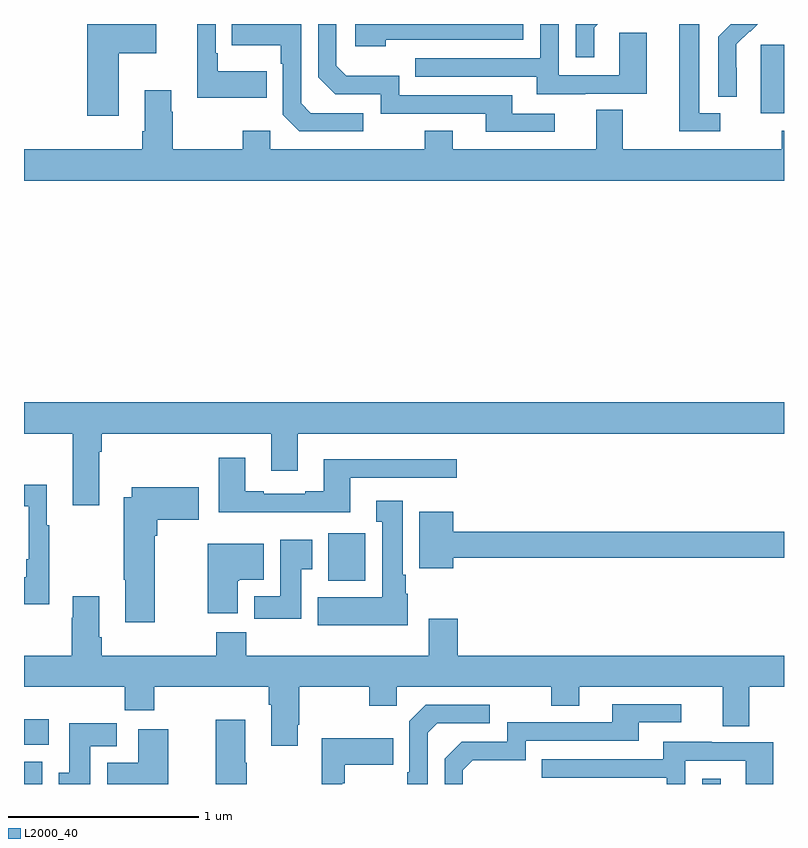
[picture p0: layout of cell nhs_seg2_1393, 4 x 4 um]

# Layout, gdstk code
import gdstk
lib = gdstk.Library(unit=1e-6, precision=1e-09)
def R(c, l, rs):  # rectangles x0, y0, x1, y1
    for r in rs: c.add(gdstk.rectangle(r[:2], r[2:], *l))
def P(c, l, *ps):  # polygons
    for p in ps: c.add(gdstk.Polygon(p, *l))
L2000_40 = (2000, 40)

nhs_seg2_1393 = lib.new_cell('nhs_seg2_1393')
R(nhs_seg2_1393, L2000_40, [(183,637.8,183.097,637.918), (186.57,637.8,186.667,637.828), (183,638.006,183.13,638.14), (184.601,638.87,184.797,639.121), (186.878,641.33,187,641.691)])
P(nhs_seg2_1393, L2000_40, [(186.664,641.331),(186.553,641.331),(186.553,641.8),(186.449,641.8),(186.449,641.235),(186.664,641.235)],
  [(184.904,641.718),(185.628,641.718),(185.628,641.8),(184.743,641.8),(184.743,641.684),(184.904,641.684)],
  [(183.499,641.645),(183.697,641.645),(183.697,641.8),(183.332,641.8),(183.332,641.316),(183.499,641.316)],
  [(184.277,641.551),(184.021,641.551),(184.021,641.647),(184.008,641.647),(184.008,641.8),(183.911,641.8),(183.911,641.411),(184.277,641.411)],
  [(185.794,641.328),(185.569,641.328),(185.569,641.424),(184.974,641.424),(184.974,641.527),(184.697,641.527),(184.644,641.58),(184.644,641.8),(184.548,641.8),(184.548,641.52),(184.638,641.43),(184.878,641.43),(184.878,641.328),(185.429,641.328),(185.429,641.232),(185.794,641.232)],
  [(186.75,641.57),(186.749,641.57),(186.749,641.693),(186.819,641.763),(186.822,641.76),(186.862,641.8),(186.72,641.8),(186.654,641.734),(186.654,641.416),(186.75,641.416)],
  [(184.786,641.331),(184.509,641.331),(184.458,641.382),(184.458,641.8),(184.093,641.8),(184.093,641.687),(184.35,641.687),(184.35,641.591),(184.362,641.591),(184.362,641.322),(184.449,641.235),(184.786,641.235)],
  [(186.001,641.781),(186.02,641.8),(185.904,641.8),(185.904,641.625),(186.001,641.625)],
  [(185.953,641.433),(186.277,641.433),(186.277,641.753),(186.132,641.753),(186.132,641.529),(185.814,641.529),(185.814,641.8),(185.718,641.8),(185.718,641.619),(185.059,641.619),(185.059,641.523),(185.699,641.523),(185.699,641.429),(185.953,641.429)],
  [(187,641.239),(186.988,641.239),(186.988,641.14),(186.151,641.14),(186.151,641.348),(186.011,641.348),(186.011,641.14),(185.257,641.14),(185.257,641.239),(185.11,641.239),(185.11,641.14),(184.296,641.14),(184.296,641.239),(184.15,641.239),(184.15,641.14),(183.783,641.14),(183.783,641.339),(183.775,641.339),(183.775,641.452),(183.635,641.452),(183.635,641.236),(183.623,641.236),(183.623,641.14),(183,641.14),(183,640.976),(187,640.976)],
  [(183.397,639.548),(183.41,639.548),(183.41,639.644),(184.301,639.644),(184.301,639.45),(184.441,639.45),(184.441,639.644),(187,639.644),(187,639.808),(183,639.808),(183,639.644),(183.257,639.644),(183.257,639.267),(183.397,639.267)],
  [(184.717,639.411),(185.278,639.411),(185.278,639.508),(184.577,639.508),(184.577,639.34),(184.481,639.34),(184.481,639.327),(184.261,639.327),(184.261,639.34),(184.165,639.34),(184.165,639.517),(184.025,639.517),(184.025,639.23),(184.717,639.23)],
  [(183.133,639.163),(183.121,639.163),(183.121,639.376),(183,639.376),(183,639.263),(183.024,639.263),(183.024,638.983),(183.012,638.983),(183.012,638.887),(183,638.887),(183,638.747),(183.133,638.747)],
  [(183.688,639.107),(183.701,639.107),(183.701,639.191),(183.919,639.191),(183.919,639.361),(183.566,639.361),(183.566,639.31),(183.526,639.31),(183.526,638.875),(183.533,638.875),(183.533,638.652),(183.688,638.652)],
  [(185.02,638.802),(185.008,638.802),(185.008,638.902),(184.993,638.902),(184.993,639.292),(184.853,639.292),(184.853,639.179),(184.886,639.179),(184.886,638.782),(184.547,638.782),(184.547,638.636),(185.02,638.636)],
  [(185.26,638.992),(187,638.992),(187,639.128),(185.26,639.128),(185.26,639.232),(185.081,639.232),(185.081,638.936),(185.26,638.936)],
  [(184.459,638.929),(184.516,638.929),(184.516,639.085),(184.349,639.085),(184.349,638.788),(184.211,638.788),(184.211,638.67),(184.459,638.67)],
  [(184.126,638.87),(184.132,638.87),(184.132,638.876),(184.261,638.876),(184.261,639.064),(183.968,639.064),(183.968,638.7),(184.126,638.7)],
  [(185.282,638.671),(185.129,638.671),(185.129,638.476),(184.169,638.476),(184.169,638.6),(184.013,638.6),(184.013,638.476),(183.41,638.476),(183.41,638.572),(183.397,638.572),(183.397,638.788),(183.257,638.788),(183.257,638.675),(183.25,638.675),(183.25,638.476),(183,638.476),(183,638.312),(183.529,638.312),(183.529,638.188),(183.686,638.188),(183.686,638.312),(184.289,638.312),(184.289,638.216),(184.301,638.216),(184.301,638.001),(184.441,638.001),(184.441,638.113),(184.449,638.113),(184.449,638.312),(184.816,638.312),(184.816,638.213),(184.962,638.213),(184.962,638.312),(185.776,638.312),(185.776,638.213),(185.923,638.213),(185.923,638.312),(186.677,638.312),(186.677,638.104),(186.817,638.104),(186.817,638.312),(187,638.312),(187,638.476),(185.282,638.476)],
  [(185.31,637.872),(185.363,637.925),(185.64,637.925),(185.64,638.028),(186.235,638.028),(186.235,638.124),(186.46,638.124),(186.46,638.22),(186.095,638.22),(186.095,638.124),(185.544,638.124),(185.544,638.022),(185.304,638.022),(185.214,637.932),(185.214,637.8),(185.31,637.8)],
  [(185.124,638.07),(185.175,638.121),(185.452,638.121),(185.452,638.217),(185.115,638.217),(185.028,638.13),(185.028,637.861),(185.016,637.861),(185.016,637.8),(185.124,637.8)],
  [(184.173,637.913),(184.165,637.913),(184.165,638.137),(184.01,638.137),(184.01,637.8),(184.173,637.8)],
  [(183.349,638),(183.488,638),(183.488,638.119),(183.239,638.119),(183.239,637.86),(183.182,637.86),(183.182,637.8),(183.349,637.8)],
  [(183.76,638.089),(183.602,638.089),(183.602,637.912),(183.437,637.912),(183.437,637.8),(183.76,637.8)],
  [(184.674,637.805),(184.687,637.805),(184.687,637.901),(184.943,637.901),(184.943,638.041),(184.566,638.041),(184.566,637.8),(184.674,637.8)],
  [(186.48,637.923),(186.798,637.923),(186.798,637.8),(186.943,637.8),(186.943,638.019),(186.619,638.019),(186.619,638.023),(186.365,638.023),(186.365,637.929),(185.725,637.929),(185.725,637.833),(186.384,637.833),(186.384,637.8),(186.48,637.8)])

lib.write_gds('nhs_seg2_1393.gds')
